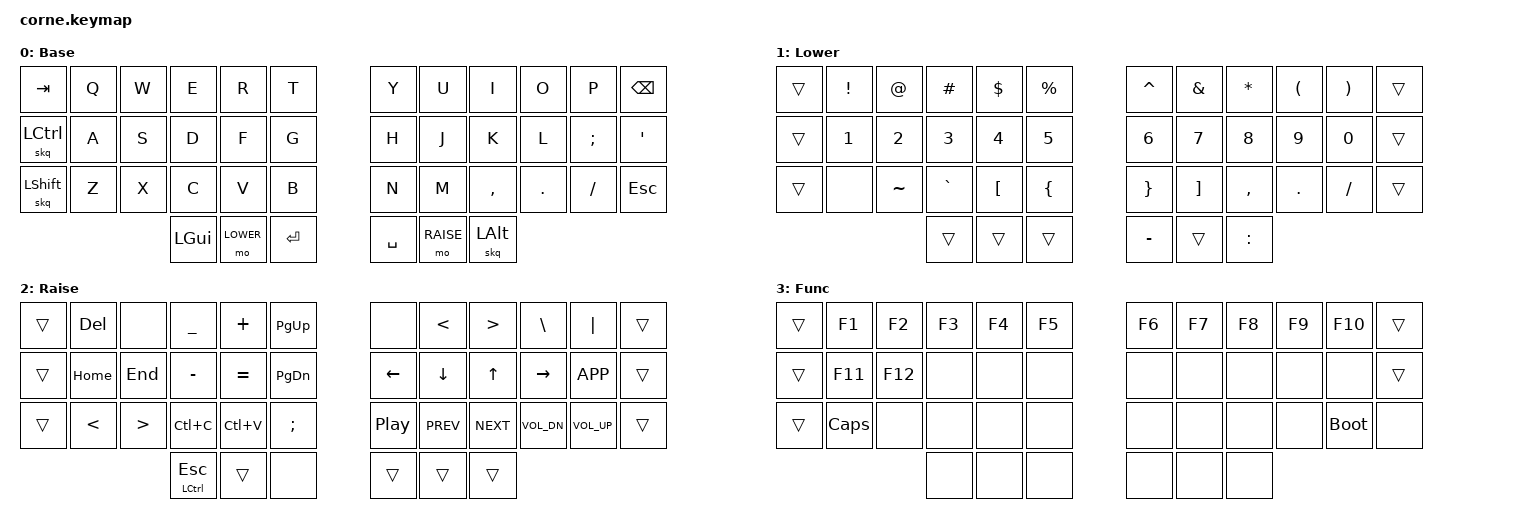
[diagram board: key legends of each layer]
/*
 * Corne ZMK keymap — ported from QMK keymaps/mine
 *
 * Key layout reference (42 keys, 0-indexed):
 *  Left:   0  1  2  3  4  5 │ Right: 21 22 23 24 25 26
 *          6  7  8  9 10 11 │        27 28 29 30 31 32
 *         12 13 14 15 16 17 │        33 34 35 36 37 38
 *              18 19 20     │              39 40 41
 *
 * Combo key positions:
 *  JK (28,29) → ESC
 *  FD (9,10)  → - (BASE layer)
 *  34 (9,10)  → - (LOWER layer — same physical keys as FD)
 */

#include <behaviors.dtsi>
#include <dt-bindings/zmk/keys.h>
#include <dt-bindings/zmk/bt.h>
#include <dt-bindings/zmk/outputs.h>

#define BASE  0
#define LOWER 1
#define RAISE 2
#define FUNC  3

/ {
    behaviors {
        /*
         * Hold-tap used for CTL_ESC (Ctrl held, Esc tapped).
         * 200ms tapping term, hold-preferred mirrors QMK's
         * HOLD_ON_OTHER_KEY_PRESS + PERMISSIVE_HOLD combo.
         */
        mt_hp: mod_tap_hold_preferred {
            compatible = "zmk,behavior-hold-tap";
            label = "MOD_TAP_HOLD_PREFERRED";
            #binding-cells = <2>;
            tapping-term-ms = <200>;
            quick-tap-ms = <150>;
            flavor = "hold-preferred";
            bindings = <&kp>, <&kp>;
        };

        /*
         * Sticky key (one-shot) with 2000ms timeout.
         * Mirrors QMK ONESHOT_TIMEOUT 2000.
         * Note: QMK's ONESHOT_TAP_TOGGLE 3 (lock after 3 taps) has
         * no direct ZMK equivalent.
         */
        skq: sticky_key_quick_release {
            compatible = "zmk,behavior-sticky-key";
            label = "STICKY_KEY_QUICK_RELEASE";
            #binding-cells = <1>;
            bindings = <&kp>;
            release-after-ms = <2000>;
            quick-release;
        };
    };

    /*
     * FUNC layer activates when both LOWER and RAISE are held simultaneously
     * (tri-layer / adjust layer pattern).
     */
    conditional_layers {
        compatible = "zmk,conditional-layers";
        func_layer {
            if-layers = <LOWER RAISE>;
            then-layer = <FUNC>;
        };
    };

    combos {
        compatible = "zmk,combos";

        /* J+K → Escape (vim) */
        combo_jk_esc {
            timeout-ms = <40>;
            key-positions = <28 29>;
            bindings = <&kp ESC>;
        };

        /* F+D → Dash on home row (BASE layer only) */
        combo_fd_dash {
            timeout-ms = <40>;
            key-positions = <9 10>;
            bindings = <&kp MINUS>;
            layers = <BASE>;
        };

        /* 3+4 → Dash on num layer (same physical keys as FD) */
        combo_num_dash {
            timeout-ms = <40>;
            key-positions = <9 10>;
            bindings = <&kp MINUS>;
            layers = <LOWER>;
        };
    };

    keymap {
        compatible = "zmk,keymap";

        /* ── BASE ─────────────────────────────────────────────────────────── */
        base_layer {
            label = "Base";
            // ,------------------------------------------.                    ,------------------------------------------.
            // | Tab  |  Q   |  W   |  E   |  R   |  T   |                    |  Y   |  U   |  I   |  O   |  P   | Bspc |
            // |------+------+------+------+------+------|                    |------+------+------+------+------+------|
            // |*Ctrl |  A   |  S   |  D   |  F   |  G   |                    |  H   |  J   |  K   |  L   |  ;   |  '   |
            // |------+------+------+------+------+------|                    |------+------+------+------+------+------|
            // |*Shft |  Z   |  X   |  C   |  V   |  B   |                    |  N   |  M   |  ,   |  .   |  /   | Esc  |
            //                      | GUI  | Lower| Enter|                    | Space| Raise| *Alt |
            // (* = one-shot / sticky)
            bindings = <
    &kp TAB    &kp Q  &kp W  &kp E  &kp R  &kp T      &kp Y  &kp U  &kp I      &kp O    &kp P     &kp BSPC
    &skq LCTRL &kp A  &kp S  &kp D  &kp F  &kp G      &kp H  &kp J  &kp K      &kp L    &kp SEMI  &kp SQT
    &skq LSHFT &kp Z  &kp X  &kp C  &kp V  &kp B      &kp N  &kp M  &kp COMMA  &kp DOT  &kp FSLH  &kp ESC
                    &kp LGUI  &mo LOWER  &kp RET      &kp SPC  &mo RAISE  &skq LALT
            >;
        };

        /* ── LOWER ────────────────────────────────────────────────────────── */
        lower_layer {
            label = "Lower";
            // ,------------------------------------------.                    ,------------------------------------------.
            // |      |  !   |  @   |  #   |  $   |  %   |                    |  ^   |  &   |  *   |  (   |  )   |      |
            // |------+------+------+------+------+------|                    |------+------+------+------+------+------|
            // |      |  1   |  2   |  3   |  4   |  5   |                    |  6   |  7   |  8   |  9   |  0   |      |
            // |------+------+------+------+------+------|                    |------+------+------+------+------+------|
            // |      |      |  ~   |  `   |  [   |  {   |                    |  }   |  ]   |  ,   |  .   |  /   |      |
            //                      |      |      |      |                    |  -   |      |  :   |
            bindings = <
    &trans  &kp EXCL  &kp AT     &kp HASH   &kp DLLR  &kp PRCNT    &kp CARET  &kp AMPS  &kp STAR   &kp LPAR  &kp RPAR  &trans
    &trans  &kp N1    &kp N2     &kp N3     &kp N4    &kp N5       &kp N6     &kp N7    &kp N8     &kp N9    &kp N0    &trans
    &trans  &none     &kp TILDE  &kp GRAVE  &kp LBKT  &kp LBRC     &kp RBRC   &kp RBKT  &kp COMMA  &kp DOT   &kp FSLH  &trans
                                 &trans     &trans    &trans       &kp MINUS  &trans    &kp COLON
            >;
        };

        /* ── RAISE ────────────────────────────────────────────────────────── */
        raise_layer {
            label = "Raise";
            // ,------------------------------------------.                    ,------------------------------------------.
            // |      | Del  |      |  _   |  +   | PgUp |                    |      |  <   |  >   |  \   |  |   |      |
            // |------+------+------+------+------+------|                    |------+------+------+------+------+------|
            // |      | Home | End  |  -   |  =   | PgDn |                    | Left | Down |  Up  | Right| App  |      |
            // |------+------+------+------+------+------|                    |------+------+------+------+------+------|
            // |      |  <   |  >   | Copy | Paste|  ;   |                    | Play | Prev | Next | VolDn| VolUp|      |
            //                      |CtlEsc|      |      |                    |      |      |      |
            bindings = <
    &trans  &kp DEL   &none    &kp UNDER  &kp PLUS   &kp PG_UP    &none      &kp LT      &kp GT      &kp BSLH      &kp PIPE      &trans
    &trans  &kp HOME  &kp END  &kp MINUS  &kp EQUAL  &kp PG_DN    &kp LEFT   &kp DOWN    &kp UP      &kp RIGHT     &kp K_APP     &trans
    &trans  &kp LT    &kp GT   &kp LC(C)  &kp LC(V)  &kp SEMI     &kp C_PP   &kp C_PREV  &kp C_NEXT  &kp C_VOL_DN  &kp C_VOL_UP  &trans
                    &mt_hp LCTRL ESC  &trans  &none        &trans     &trans      &trans
            >;
        };

        /* ── FUNC (tri-layer: LOWER + RAISE) ──────────────────────────────── */
        func_layer {
            label = "Func";
            // ,------------------------------------------.                    ,------------------------------------------.
            // |      |  F1  |  F2  |  F3  |  F4  |  F5  |                    |  F6  |  F7  |  F8  |  F9  | F10  |      |
            // |------+------+------+------+------+------|                    |------+------+------+------+------+------|
            // |      | F11  | F12  |      |      |      |                    |      |      |      |      |      |      |
            // |------+------+------+------+------+------|                    |------+------+------+------+------+------|
            // |      | Caps |      |      |      |      |                    |      |      |      |      | Boot |      |
            //                      |      |      |      |                    |      |      |      |
            bindings = <
    &trans  &kp F1    &kp F2   &kp F3  &kp F4  &kp F5    &kp F6  &kp F7  &kp F8  &kp F9  &kp F10      &trans
    &trans  &kp F11   &kp F12  &none   &none   &none      &none   &none   &none   &none   &none        &trans
    &trans  &kp CAPS  &none    &none   &none   &none      &none   &none   &none   &none   &bootloader  &none
                               &none   &none   &none      &none   &none   &none
            >;
        };
    };
};
